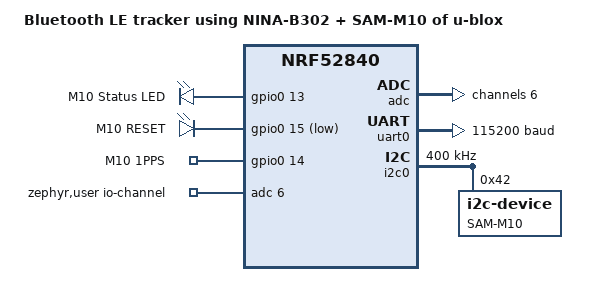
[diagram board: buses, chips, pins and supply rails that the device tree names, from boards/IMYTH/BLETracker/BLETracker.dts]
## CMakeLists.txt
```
# Copyright (C) 2026 Lancelot MEI
# SPDX-License-Identifier: GPL-2.0-only

cmake_minimum_required(VERSION 3.20.0)
find_package(Zephyr REQUIRED HINTS $ENV{ZEPHYR_BASE})
project(BLEtracker)

FILE(GLOB app_sources src/*.c)
target_sources(app PRIVATE ${app_sources})
```

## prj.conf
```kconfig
# Copyright (C) 2026 Lancelot MEI
# SPDX-License-Identifier: GPL-2.0-only

CONFIG_SYSTEM_WORKQUEUE_STACK_SIZE=2048

# Debugging & Console
CONFIG_CONSOLE=y
CONFIG_UART_CONSOLE=n
CONFIG_USE_SEGGER_RTT=y
CONFIG_RTT_CONSOLE=y

CONFIG_LOG=y
# Disable the direct RTT backend for logs
CONFIG_LOG_BACKEND_RTT=n

CONFIG_SHELL=y
CONFIG_SHELL_BACKEND_RTT=y
# Direct logs to the shell backend instead
CONFIG_SHELL_LOG_BACKEND=y

# Device Drivers
CONFIG_GPIO=y
CONFIG_I2C=y
CONFIG_ADC=y
CONFIG_SERIAL=y

# Power Management
#CONFIG_PM=y
#CONFIG_BOARD_ENABLE_DCDC=y

# Bluetooth LE
CONFIG_BT=y
CONFIG_BT_PERIPHERAL=y
CONFIG_BT_MAX_CONN=1
CONFIG_BT_DEVICE_NAME="BLE-Tracker"
CONFIG_BT_BAS=y
CONFIG_BT_GATT_CLIENT=y

## Data length update
CONFIG_BT_USER_DATA_LEN_UPDATE=y
CONFIG_BT_CTLR_DATA_LENGTH_MAX=251
CONFIG_BT_BUF_ACL_RX_SIZE=251
CONFIG_BT_BUF_ACL_TX_SIZE=251
CONFIG_BT_L2CAP_TX_MTU=247

# Connection parameters
CONFIG_BT_PERIPHERAL_PREF_MIN_INT=800
CONFIG_BT_PERIPHERAL_PREF_MAX_INT=800
CONFIG_BT_PERIPHERAL_PREF_LATENCY=0
CONFIG_BT_PERIPHERAL_PREF_TIMEOUT=400
CONFIG_BT_GAP_AUTO_UPDATE_CONN_PARAMS=y

CONFIG_MCUMGR_TRANSPORT_UART=n
#CONFIG_BT_DEBUG_MONITOR=n
# Optimization
CONFIG_FPU=y

CONFIG_I2C_LOG_LEVEL_DBG=y
CONFIG_NO_OPTIMIZATIONS=y
```

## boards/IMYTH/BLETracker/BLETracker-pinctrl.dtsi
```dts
/*
 * Copyright (C) 2026 Lancelot MEI
 * SPDX-License-Identifier: GPL-2.0-only
 *
 * Pin control configuration for BLETracker
 */

#include <zephyr/dt-bindings/pinctrl/nrf-pinctrl.h>

&pinctrl {
    /* UART0 ：RXD=P1.13, TXD=P0.29 */
    uart0_default: uart0_default {
        group1 {
            psels = <NRF_PSEL(UART_TX, 0, 29)>;
        };
        group2 {
            psels = <NRF_PSEL(UART_RX, 1, 13)>;
            bias-pull-up;
        };
    };

    uart0_sleep: uart0_sleep {
        group1 {
            psels = <NRF_PSEL(UART_TX, 0, 29)>,
                    <NRF_PSEL(UART_RX, 1, 13)>;
            low-power-enable;
        };
    };

    /* I2C0 ：SDA=P0.16, SCL=P0.24 */
    i2c0_default: i2c0_default {
        group1 {
            psels = <NRF_PSEL(TWIM_SDA, 0, 16)>,
                    <NRF_PSEL(TWIM_SCL, 0, 24)>;
            bias-pull-up; /* I2C pull up for M10 */
        };
    };

    i2c0_sleep: i2c0_sleep {
        group1 {
            psels = <NRF_PSEL(TWIM_SDA, 0, 16)>,
                    <NRF_PSEL(TWIM_SCL, 0, 24)>;
            low-power-enable;
        };
    };
};
```

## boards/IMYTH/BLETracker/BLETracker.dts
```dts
/*
 * Copyright (C) 2026 Lancelot MEI
 * SPDX-License-Identifier: GPL-2.0-only
 */

/dts-v1/;
#include <nordic/nrf52840_qiaa.dtsi>
#include <nordic/nrf52840_partition.dtsi>
#include "BLETracker-pinctrl.dtsi"

/ {
	model = "Bluetooth LE tracker using NINA-B302 + SAM-M10 of u-blox";
	compatible = "IMYTH,BLETracker";
	leds {
        compatible = "gpio-leds";
        m10_led: led_0 {
            gpios = <&gpio0 13 GPIO_ACTIVE_HIGH>;
            label = "M10 Status LED";
        };
        m10_reset: reset {
            gpios = <&gpio0 15 GPIO_ACTIVE_LOW>;
            label = "M10 RESET";
        };
    };

    m10_control {
        compatible = "gpio-keys";
        m10_pps: pps {
            gpios = <&gpio0 14 GPIO_ACTIVE_HIGH>;
            label = "M10 1PPS";
        };

    };
	zephyr,user {
		io-channels = <&adc 6>;
	};
};

&reg1 {
	regulator-initial-mode = <NRF5X_REG_MODE_DCDC>;
};


&gpiote {
	status = "okay";
};

&gpio0 {
	status = "okay";
};

/*  UART_RX on P1.13 */
&gpio1 {
    status = "okay";
};

/* ADC ：P0.30 @ AIN6 */
&adc {
    #address-cells = <1>;
    #size-cells = <0>;
	status = "okay";
    channel@6 {
        reg = <6>;
        zephyr,gain = "ADC_GAIN_1_6";
        zephyr,reference = "ADC_REF_INTERNAL";
        zephyr,acquisition-time = <ADC_ACQ_TIME_DEFAULT>;
        zephyr,input-positive = <NRF_SAADC_AIN6>; /* P0.30 */
		zephyr,resolution = <12>;
    };
};


&uart0 {
	compatible = "nordic,nrf-uarte";
	status = "okay";
	current-speed = <115200>;
	pinctrl-0 = <&uart0_default>;
	pinctrl-1 = <&uart0_sleep>;
	pinctrl-names = "default", "sleep";
};

&i2c0 {
	compatible = "nordic,nrf-twim";
	status = "okay";
	pinctrl-0 = <&i2c0_default>;
	pinctrl-1 = <&i2c0_sleep>;
	pinctrl-names = "default", "sleep";

	gnss: sam-m10@42 {
        compatible = "i2c-device";
        reg = <0x42>;
        label = "SAM-M10";
    };

	clock-frequency = <I2C_BITRATE_FAST>;
};
```

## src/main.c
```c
/*
 * Copyright (C) 2026 Lancelot MEI
 * SPDX-License-Identifier: GPL-2.0-only
 */

#include <zephyr/kernel.h>
#include <zephyr/logging/log.h>
#include <zephyr/sys/util.h>

#include "M10_hw.h"
#include "app_battery.h"
#include "app_m10.h"
#include "ble_core.h"


LOG_MODULE_REGISTER(main, LOG_LEVEL_INF);

enum {
	EVT_1PPS_TICK = BIT(0),
	EVT_BLE_CONFIG_UPDATED = BIT(1),
	EVT_PVT_TIMER = BIT(2),
};


static struct k_event main_events;

static void m10_pps_cb(void *user_data)
{
	struct k_event *ev = user_data;

	if (ev != NULL) {
		k_event_post(ev, EVT_1PPS_TICK);
	}
}

static void pvt_timer_hander(struct k_timer *timer)
{
	k_event_post(&main_events, EVT_PVT_TIMER);
}
static K_TIMER_DEFINE(pvt_timer, pvt_timer_hander, NULL);

int main(void)
{
    int err;
	uint32_t events;

    LOG_INF("BLE Tracker starting via RTT...\n");
    /* Hardware Init */

    err = ble_init();
    if (err) {
        LOG_ERR("BLE init failed, err %d\n", err);
        return err;
    }
    /* Init battery monitoring */
    err = app_battery_init();
    if (err){
        LOG_ERR("BATT Mon ERR %d\n", err);
    } else {
        app_battery_start();
    }

    err = app_m10_init();
    if (err != 0) {
        LOG_ERR("M10 init failed (err %d)", err);
		return err;
    }

	err = app_m10_start();
	if (err != 0) {
		LOG_ERR("M10 start failed (err %d)", err);
		return err;
	}

	k_event_init(&main_events);

	err = M10_hw_pps_enable(m10_pps_cb, &main_events);
	if (err != 0) {
		LOG_ERR("M10 1PPS enable failed (err %d)", err);
		return err;
	}
	k_timer_start(&pvt_timer, K_SECONDS(3), K_SECONDS(1));
	while (1) {
		events = k_event_wait(&main_events,
            EVT_1PPS_TICK | EVT_BLE_CONFIG_UPDATED|EVT_PVT_TIMER,
                    true, K_FOREVER);
		if ((events & EVT_1PPS_TICK) != 0U) {
			M10_led_set(1);
			k_timer_start(&pvt_timer, K_MSEC(200U), K_NO_WAIT);
		}
		if ((events & EVT_PVT_TIMER) != 0U) {
			if (ble_lns_notify_is_enabled()) {
				err = m10_pvt_update();
				if (err != 0) {
					LOG_DBG("PVT update skipped/failed (err %d)", err);
				}	
			}
			M10_led_toggle();
		}

		if ((events & EVT_BLE_CONFIG_UPDATED) != 0U) {
			LOG_DBG("BLE config update event received (TODO)");
		}
	}
}
```

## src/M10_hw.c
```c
/*
 * Copyright (C) 2026 Lancelot MEI
 * SPDX-License-Identifier: GPL-2.0-only
 */

#include "M10_hw.h"
#include "ubx.h"
#include <errno.h>
#include <stdbool.h>
#include <string.h>

#include <zephyr/devicetree.h>
#include <zephyr/drivers/gpio.h>
#include <zephyr/drivers/i2c.h>
#include <zephyr/kernel.h>
#include <zephyr/logging/log.h>
#include <zephyr/sys/util.h>

LOG_MODULE_REGISTER(M10_hw, LOG_LEVEL_INF);

#define M10_I2C_STREAM_REG 0xFF
#define M10_I2C_BYTES_AVAIL_REG 0xFD
#define M10_I2C_MAX_WRITE_LEN 191

static const struct i2c_dt_spec m10_i2c = I2C_DT_SPEC_GET(DT_NODELABEL(gnss));
static const struct gpio_dt_spec m10_reset = GPIO_DT_SPEC_GET(DT_NODELABEL(m10_reset), gpios);
static const struct gpio_dt_spec m10_pps = GPIO_DT_SPEC_GET(DT_NODELABEL(m10_pps), gpios);
static const struct gpio_dt_spec m10_led = GPIO_DT_SPEC_GET(DT_NODELABEL(m10_led), gpios);
static struct gpio_callback m10_pps_cb_data;
static m10_hw_pps_cb_t m10_pps_cb;
static void *m10_pps_cb_user_data;
static bool m10_pps_enabled;

static void m10_pps_isr(const struct device *port, struct gpio_callback *cb, uint32_t pins)
{
	ARG_UNUSED(port);
	ARG_UNUSED(cb);
	ARG_UNUSED(pins);

	if (m10_pps_cb != NULL) {
		m10_pps_cb(m10_pps_cb_user_data);
	}
}

int M10_hw_init(void)
{
	int err;

	if (!i2c_is_ready_dt(&m10_i2c)) {
		LOG_ERR("M10 I2C bus is not ready");
		return -ENODEV;
	}

	if (!gpio_is_ready_dt(&m10_reset)) {
		LOG_ERR("M10 reset GPIO is not ready");
		return -ENODEV;
	}
	if (!gpio_is_ready_dt(&m10_pps)) {
		LOG_ERR("M10 1PPS GPIO is not ready");
		return -ENODEV;
	}
	if (!gpio_is_ready_dt(&m10_led)) {
		LOG_ERR("M10 LED GPIO is not ready");
		return -ENODEV;
	}

	err = gpio_pin_configure_dt(&m10_reset, GPIO_OUTPUT_INACTIVE);
	if (err != 0) {
		LOG_ERR("Failed to configure M10 reset pin (err %d)", err);
		return err;
	}
	err = gpio_pin_configure_dt(&m10_pps, GPIO_INPUT);
	if (err != 0) {
		LOG_ERR("Failed to configure M10 1PPS pin (err %d)", err);
		return err;
	}
	err = gpio_pin_configure_dt(&m10_led, GPIO_OUTPUT_INACTIVE);
	if (err != 0) {
		LOG_ERR("Failed to configure M10 LED pin (err %d)", err);
		return err;
	}

	return 0;
}

int M10_hw_random_read(uint8_t *buf, uint16_t *len, uint16_t *remains)
{
	uint8_t data_avail_reg = M10_I2C_BYTES_AVAIL_REG;
	uint8_t data[2];
	int err;

	*remains = 0U;
	*len = 0U;
	if ((buf == NULL)) {
		return -EINVAL;
	}
	err = i2c_write_read_dt(&m10_i2c, &data_avail_reg, sizeof(data_avail_reg), data, sizeof(data));
	if (err != 0) {
		LOG_ERR("Failed to read M10 available byte count (err %d)", err);
		return err;
	}
	
	*len = ((uint16_t)data[0] << 8) | data[1];
	if (*len == 0U) {
		return 0U;
	}else if (*len > UBX_MAX_RX_MSG_LENGTH) {
		*remains = *len - UBX_MAX_RX_MSG_LENGTH;
		*len = UBX_MAX_RX_MSG_LENGTH;
	}
	return i2c_read_dt(&m10_i2c, buf, *len);
}

int M10_hw_write_stream(const uint8_t *buf, uint16_t len)
{
	uint8_t tx_buf[M10_I2C_MAX_WRITE_LEN + 1U];

	if ((buf == NULL) || (len == 0U)) {
		return -EINVAL;
	}

	if (len > M10_I2C_MAX_WRITE_LEN) {
		return -EMSGSIZE;
	}

	tx_buf[0] = M10_I2C_STREAM_REG;
	memcpy(&tx_buf[1], buf, len);
	return i2c_write_dt(&m10_i2c, tx_buf, len + 1U);
}

int M10_hw_reset_pulse(uint32_t hold_ms)
{
	int err;

	err = gpio_pin_set_dt(&m10_reset, 1);
	if (err != 0) {
		return err;
	}

	k_sleep(K_MSEC(hold_ms));
	return gpio_pin_set_dt(&m10_reset, 0);
}

int M10_hw_pps_enable(m10_hw_pps_cb_t cb, void *user_data)
{
	int err;

	if (cb == NULL) {
		return -EINVAL;
	}

	if (!gpio_is_ready_dt(&m10_pps)) {
		LOG_ERR("M10 1PPS GPIO is not ready");
		return -ENODEV;
	}

	m10_pps_cb = cb;
	m10_pps_cb_user_data = user_data;

	if (m10_pps_enabled) {
		return 0;
	}

	err = gpio_pin_configure_dt(&m10_pps, GPIO_INPUT);
	if (err != 0) {
		LOG_ERR("Failed to configure M10 1PPS pin (err %d)", err);
		return err;
	}

	gpio_init_callback(&m10_pps_cb_data, m10_pps_isr, BIT(m10_pps.pin));
	err = gpio_add_callback(m10_pps.port, &m10_pps_cb_data);
	if (err != 0) {
		LOG_ERR("Failed to add M10 1PPS callback (err %d)", err);
		return err;
	}

	err = gpio_pin_interrupt_configure_dt(&m10_pps, GPIO_INT_EDGE_TO_ACTIVE);
	if (err != 0) {
		(void)gpio_remove_callback(m10_pps.port, &m10_pps_cb_data);
		LOG_ERR("Failed to enable M10 1PPS interrupt (err %d)", err);
		return err;
	}

	m10_pps_enabled = true;
	return 0;
}

int M10_led_toggle(void)
{
	return gpio_pin_toggle_dt(&m10_led);
}

int M10_led_set(int8_t value)
{
	return gpio_pin_set_dt(&m10_led, value);
}
```

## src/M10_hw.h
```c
/*
 * Copyright (C) 2026 Lancelot MEI
 * SPDX-License-Identifier: GPL-2.0-only
 */

#ifndef APP_M10_HW_H
#define APP_M10_HW_H

#include <stddef.h>
#include <stdint.h>

typedef void (*m10_hw_pps_cb_t)(void *user_data);

/**
 * @brief Initialize M10 hardware binding (I2C + reset GPIO).
 */
int M10_hw_init(void);

/**
 * @brief Configure and enable 1PPS GPIO interrupt.
 *
 * Callback is invoked from interrupt context.
 */
int M10_hw_pps_enable(m10_hw_pps_cb_t cb, void *user_data);

/**
 * @brief Read M10 stream bytes via I2C DDC stream register.
 * 
 * @param buf Buffer to read into
 * @param len Number of bytes read
 * @param remains Number of bytes remaining in buffer
 * @return int 0 on success, negative on error
 */
int M10_hw_random_read(uint8_t *buf, uint16_t *len, uint16_t *remains);

/**
 * @brief Read M10 current address via I2C DDC stream register.
 * 
 * @param buf Buffer to read into
 * @param len Number of bytes to read
 * @return int 0 on success, negative on error
 */
int M10_hw_currentaddr_read(uint8_t *buf, uint16_t len);

/**
 * @brief Write M10 stream bytes via I2C DDC stream register.
 */
int M10_hw_write_stream(const uint8_t *buf, uint16_t len);

/**
 * @brief Read number of pending bytes in M10 DDC output buffer.
 */
int M10_hw_bytes_available(uint16_t *available);

/**
 * @brief Assert/deassert reset pin for a short pulse.
 */
int M10_hw_reset_pulse(uint32_t hold_ms);

int M10_led_toggle(void);
int M10_led_set(int8_t value);

#endif /* APP_M10_HW_H */
```

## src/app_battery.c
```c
/*
 * Copyright (C) 2026 Lancelot MEI
 * SPDX-License-Identifier: GPL-2.0-only
 */

#include "app_battery.h"
#include <zephyr/bluetooth/services/bas.h>
#include <zephyr/drivers/adc.h>
#include <zephyr/kernel.h>
#include <zephyr/logging/log.h>

#define APP_BATTERY_READ_INTERVAL_SEC 300
/* Battery voltage thresholds in microvolts (compensated for 1/2 divider)
 * 4.2V actual -> 2.1V at pin (2100000 uV)
 * 3.3V actual -> 1.65V at pin (1650000 uV)
 */
#define BATT_MAX_PIN_UV 2100000
#define BATT_MIN_PIN_UV 1650000

/* Register log module for debugging */
LOG_MODULE_REGISTER(app_bat, LOG_LEVEL_INF);

/* Get ADC spec from zephyr,user node */
static const struct adc_dt_spec batt_adc = ADC_DT_SPEC_GET_BY_IDX(DT_PATH(zephyr_user), 0);

/* Forward declarations */
static void battery_work_handler(struct k_work* work);
static void battery_timer_handler(struct k_timer* timer);

/* Define work item and timer statically */
static K_WORK_DEFINE(battery_work, battery_work_handler);
static K_TIMER_DEFINE(battery_timer, battery_timer_handler, NULL);

static void battery_work_handler(struct k_work* work)
{
    int err;
    uint16_t buf;
    int32_t val_uv;

    struct adc_sequence sequence = {
        .buffer = &buf,
        .buffer_size = sizeof(buf),
        .channels = BIT(batt_adc.channel_id), 
        .resolution = batt_adc.resolution,
        .oversampling = batt_adc.oversampling,
    };

    err = adc_read_dt(&batt_adc, &sequence);
    if (err < 0) {
        LOG_ERR("ADC read failed (err %d)", err);
        return;
    }

    val_uv = (int32_t)buf;
    err = adc_raw_to_microvolts_dt(&batt_adc, &val_uv);
    if (err < 0) {
        LOG_ERR("Microvolt conversion failed (err %d)", err);
        return;
    }

    uint8_t level = 0;

    if (val_uv >= BATT_MAX_PIN_UV) {
        level = 100;
    } else if (val_uv > BATT_MIN_PIN_UV) {
        level = (uint8_t)(((val_uv - BATT_MIN_PIN_UV) * 100) / (BATT_MAX_PIN_UV - BATT_MIN_PIN_UV));
    }

    LOG_INF("Pin voltage: %d uV, Level: %d%%", val_uv, level);

    err = bt_bas_set_battery_level(level);
    if (err) {
        LOG_ERR("Failed to update BAS (err %d)", err);
    }
}

static void battery_timer_handler(struct k_timer* timer)
{
    k_work_submit(&battery_work);
}

int app_battery_init(void)
{
    int err;
    if (!adc_is_ready_dt(&batt_adc)) {
        LOG_ERR("ADC controller not ready");
        return -ENODEV;
        ;
    }
    err = adc_channel_setup_dt(&batt_adc);
    if (err < 0) {
        LOG_ERR("Could not setup ADC channel (err %d)", err);
        return err;
    }
    LOG_INF("ADC channel configured successfully");
    return 0;
}

void app_battery_start(void)
{
    /* First trigger after 1 second, then periodically every 60 seconds */
    k_timer_start(&battery_timer, K_SECONDS(1), K_SECONDS(APP_BATTERY_READ_INTERVAL_SEC));
    LOG_INF("Battery monitoring started");
}

void app_battery_stop(void)
{
    k_timer_stop(&battery_timer);
    LOG_INF("Battery monitoring stopped");
}
```

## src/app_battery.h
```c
/*
 * Copyright (C) 2026 Lancelot MEI
 * SPDX-License-Identifier: GPL-2.0-only
 */

#ifndef APP_BATTERY_H
#define APP_BATTERY_H

/**
 * @brief Initialize the battery reading module (e.g., configure ADC hardware).
 */
int app_battery_init(void);

/**
 * @brief Start periodic battery level monitoring and Bluetooth reporting.
 */
void app_battery_start(void);

/**
 * @brief Stop battery monitoring.
 */
void app_battery_stop(void);

#endif /* APP_BATTERY_H */
```

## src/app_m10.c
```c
/*
 * Copyright (C) 2026 Lancelot MEI
 * SPDX-License-Identifier: GPL-2.0-only
 */

#include "app_m10.h"
#include <errno.h>
#include <limits.h>
#include <string.h>
#include "ubx_messages_header.h"
#include "ubx_messages_header_custom.h"

#include <zephyr/bluetooth/conn.h>
#include <zephyr/kernel.h>
#include <zephyr/logging/log.h>
#include <zephyr/sys/util.h>

#include "M10_hw.h"
#include "ble_core.h"
#include "ble_lns.h"
#include "ubx.h"

LOG_MODULE_REGISTER(app_m10, LOG_LEVEL_INF);

#define APP_M10_RX_BUFFER_SIZE 4
#define APP_M10_TX_BUFFER_SIZE 4
#define UBX_CFG_LAYER_RAM 0x01u

/* M10 configuration database keys for message output rate on I2C (U1). */
#define CFG_MSGOUT_UBX_NAV_PVT_I2C_U1 0X20910006UL
#define CFG_MSGOUT_NMEA_ID_DTM_I2C_U1 0X209100A6UL
#define CFG_MSGOUT_NMEA_ID_GGA_I2C_U1 0X209100BAUL
#define CFG_MSGOUT_NMEA_ID_GLL_I2C_U1 0X209100C9UL
#define CFG_MSGOUT_NMEA_ID_GNS_I2C_U1 0X209100B5UL
#define CFG_MSGOUT_NMEA_ID_GRS_I2C_U1 0X209100CEUL
#define CFG_MSGOUT_NMEA_ID_GSA_I2C_U1 0X209100BFUL
#define CFG_MSGOUT_NMEA_ID_GST_I2C_U1 0X209100D3UL
#define CFG_MSGOUT_NMEA_ID_GSV_I2C_U1 0X209100C4UL
#define CFG_MSGOUT_NMEA_ID_RMC_I2C_U1 0X209100ABUL
#define CFG_MSGOUT_NMEA_ID_VLW_I2C_U1 0X209100E7UL
#define CFG_MSGOUT_NMEA_ID_VTG_I2C_U1 0X209100B0UL
#define CFG_MSGOUT_NMEA_ID_ZDA_I2C_U1 0X209100D8UL

/* buffer for tx and rx*/
static uint8_t rx_buffer[UBX_MAX_RX_MSG_LENGTH];
static uint8_t tx_buffer[UBX_MAX_TX_MSG_LENGTH];
static bool started;

static int app_m10_configure_valset(void);

static inline int32_t mod(int32_t a, int32_t b) {
    int32_t r = a % b;
    return r < 0 ? r + b : r;
}

int m10_pvt_update(void)
{
    int err;
    uint16_t rx_len = 0;
    uint16_t rx_msg_len = 0;
    struct ble_lns_loc_speed fix;
    struct bt_conn* conn;
    UBX_NAV_PVT_DATA1_t* pvt;
    bool fix_ok;
    bool time_ok;
    int32_t gspeed_mm_s;
    uint16_t expected_len = UBX_HEAD_SIZE + sizeof(UBX_NAV_PVT_DATA1_t) + UBX_CHKSUM_SIZE;

    err = ubx_poll_message(UBXID_NAV_PVT, tx_buffer, rx_buffer, &rx_len, 80U);
    if (err != 0) {
        LOG_ERR("PVT query failed (err %d)", err);
        return err;
    }
    if (rx_len < expected_len) {
        LOG_ERR("PVT msg too short (%u bytes)", rx_len);
        return -EMSGSIZE;
    } else {
        err = ubx_verify_msg(rx_buffer, rx_len, &rx_msg_len);
        if (err != 0) {
            LOG_ERR("PVT decode failed (err %d)", err);
            return err;
        }
    }

    pvt = (UBX_NAV_PVT_DATA1_t*)&(rx_buffer[UBX_HEAD_SIZE]);

    fix_ok = (UBX_NAV_PVT_DATA1_FLAGS_GNSSFIXOK_GET(pvt->flags) != 0U);
    time_ok = (UBX_NAV_PVT_DATA1_VALID_VALIDDATE_GET(pvt->valid) != 0U) &&
                (UBX_NAV_PVT_DATA1_VALID_VALIDTIME_GET(pvt->valid) != 0U);

    memset(&fix, 0, sizeof(fix));
    fix.flags = 0U;

    if (fix_ok) {
        fix.flags = (BLE_LNS_LOC_SPEED_INST_SPEED_PRESENT | BLE_LNS_LOC_SPEED_LOCATION_PRESENT |
                        BLE_LNS_LOC_SPEED_HEADING_PRESENT |
                        BLE_LNS_LOC_SPEED_POS_STATUS_ENCODE(BLE_LNS_POS_POSITION_OK));

		/* covert from int32 to uint16, ignore negitive speed*/
		gspeed_mm_s = pvt->gSpeed;
		if (gspeed_mm_s < 0) {
			gspeed_mm_s = 0;
		}
		fix.inst_speed = (uint16_t)MIN((uint32_t)(gspeed_mm_s / 10), (uint32_t)UINT16_MAX);

		fix.latitude = pvt->lat;
		fix.longitude = pvt->lon;
		fix.heading = (uint16_t) (mod((int32_t)(pvt->headMot / 1000), 36000));

		if (time_ok) {
			fix.flags |= BLE_LNS_LOC_SPEED_UTC_TIME_PRESENT;
			fix.utc_time.year = pvt->year;
			fix.utc_time.month = pvt->month;
			fix.utc_time.day = pvt->day;
			fix.utc_time.hours = pvt->hour;
			fix.utc_time.minutes = pvt->min;
			fix.utc_time.seconds = pvt->sec;
		}

		conn = ble_get_default_conn();
		if (conn == NULL) {
			LOG_DBG("No BLE connection; skipping LNS notify");
			return -ENOTCONN;
		}

		err = ble_lns_notify_location_speed(conn, &fix);
		if (err != 0) {
			LOG_WRN("LNS notify failed (err %d)", err);
		}
		return 0;
	} else {
		LOG_INF("No fix");
		return -ENODATA;
	}
}

static int app_m10_version_query(void)
{
    int err = -1;
    uint16_t rx_len = 0;
    uint16_t rx_msg_len = 0;
    UBX_MON_VER_t* ver = NULL;

    err = ubx_poll_message(UBXID_MON_VER, tx_buffer, rx_buffer, &rx_len, 10U);
    if ((err != 0U) || (rx_len == 0U)) {
        LOG_ERR("VER query failed (err %d)", err);
        return err;
    }
    err = ubx_verify_msg(rx_buffer, rx_len, &rx_msg_len);
    if (err != 0) {
        LOG_ERR("VER decode failed (err %d)", err);
        return err;
    }
    if (rx_len < (UBX_HEAD_SIZE + UBX_MON_VER_SIZE + UBX_CHKSUM_SIZE)) {
        LOG_ERR("VER msg too short (%u bytes)", rx_len);
        LOG_ERR("Version: %.*s", rx_len - UBX_HEAD_SIZE - UBX_CHKSUM_SIZE,
                (char*)&rx_buffer[UBX_HEAD_SIZE]);
        return -EMSGSIZE;
    }
    ver = (UBX_MON_VER_t*)&(rx_buffer[UBX_HEAD_SIZE]);
    LOG_INF("Version \n SW: %.*s, HW: %.*s", sizeof(ver->sw), ver->sw, sizeof(ver->hw), ver->hw);
    return 0;
}

static int app_m10_configure_valset(void)
{
	static const struct ubx_cfg_pair_u1 msg_cfg[] = {
		{ CFG_MSGOUT_UBX_NAV_PVT_I2C_U1, 0U },
		{ CFG_MSGOUT_NMEA_ID_DTM_I2C_U1, 0U },
		{ CFG_MSGOUT_NMEA_ID_GGA_I2C_U1, 0U },
		{ CFG_MSGOUT_NMEA_ID_GLL_I2C_U1, 0U },
		{ CFG_MSGOUT_NMEA_ID_GNS_I2C_U1, 0U },
		{ CFG_MSGOUT_NMEA_ID_GRS_I2C_U1, 0U },
		{ CFG_MSGOUT_NMEA_ID_GST_I2C_U1, 0U },
		{ CFG_MSGOUT_NMEA_ID_GSA_I2C_U1, 0U },
		{ CFG_MSGOUT_NMEA_ID_GSV_I2C_U1, 0U },
		{ CFG_MSGOUT_NMEA_ID_RMC_I2C_U1, 0U },
		{ CFG_MSGOUT_NMEA_ID_VLW_I2C_U1, 0U },
		{ CFG_MSGOUT_NMEA_ID_VTG_I2C_U1, 0U },
		{ CFG_MSGOUT_NMEA_ID_ZDA_I2C_U1, 0U },
	};
	uint16_t rx_len = 0;
	int err;

	err = ubx_cfg_valset_u1(msg_cfg, ARRAY_SIZE(msg_cfg), UBX_CFG_LAYER_RAM,
				tx_buffer, rx_buffer, &rx_len);
	if (err != 0) {
		LOG_ERR("CFG-VALSET disable default I2C outputs failed (err %d)", err);
		return err;
	}

	LOG_INF("Disabled default I2C UBX/NMEA outputs; polling only");
	return 0;
}

int app_m10_init(void)
{
    int err;

    err = M10_hw_init();
    if (err != 0) {
        return err;
    }

    LOG_INF("M10 app initialized (I2C + UBX only)");
    return 0;
}

int app_m10_start(void)
{
    int err;

    if (started) {
        return 0;
    }

    err = M10_hw_reset_pulse(5U);
    if (err != 0) {
        LOG_WRN("M10 reset pulse failed (err %d)", err);
    }
    k_sleep(K_MSEC(1000U));

    err = app_m10_version_query();
    if (err != 0) {
        LOG_ERR("M10 version query failed (err %d)", err);
        return err;
    }
    k_sleep(K_MSEC(100U));

    err = app_m10_configure_valset();
    if (err != 0) {
        LOG_WRN("M10 UBX config failed (err %d)", err);
    }

    started = true;
    LOG_INF("M10 started");
    return 0;
}
```

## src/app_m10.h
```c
/*
 * Copyright (C) 2026 Lancelot MEI
 * SPDX-License-Identifier: GPL-2.0-only
 */

#ifndef APP_M10_H
#define APP_M10_H

#include <stdbool.h>
#include <stdint.h>

struct app_m10_fix {
	int32_t latitude_1e7;
	int32_t longitude_1e7;
	int32_t heading_1e5_deg;
	int32_t ground_speed_mm_s;
	uint32_t horiz_acc_mm;
	uint32_t i_tow_ms;
	uint16_t year;
	uint8_t month;
	uint8_t day;
	uint8_t hour;
	uint8_t min;
	uint8_t sec;
	uint8_t fix_type;
	uint8_t fix_flags;
	uint8_t num_sv;
};

/**
 * @brief Initialize M10 GNSS.
 *
 * This project supports UBX over I2C only.
 */
int app_m10_init(void);


/**
 * @brief Start GNSS engine of M10.
 */
int app_m10_start(void);

/**
 * @brief Poll one NAV-PVT sample and send it over LNS notification.
 */
int m10_pvt_update(void);

/**
 * @brief Stop GNSS engine of M10.
 */
void app_m10_stop(void);

/**
 * @brief Check if a GNSS fix is usable.
 */
bool app_m10_fix_valid(const struct app_m10_fix *fix);

/**
 * @brief Read the latest decoded fix.
 *
 * @retval 0 on success.
 * @retval -ENODATA if no fix has been decoded yet.
 */
int app_m10_get_last_fix(struct app_m10_fix *fix);

#endif /* APP_M10_H */
```

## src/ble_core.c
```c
/*
 * Copyright (C) 2026 Lancelot MEI
 * SPDX-License-Identifier: GPL-2.0-only
 */

#include <zephyr/bluetooth/bluetooth.h>
#include <zephyr/bluetooth/conn.h>
#include <zephyr/bluetooth/gap.h>
#include <zephyr/bluetooth/hci.h>
#include <zephyr/bluetooth/uuid.h>
#include <zephyr/kernel.h>
#include <zephyr/logging/log.h>
#include <zephyr/sys/atomic.h>

#include "ble_core.h"
#include "ble_lns.h"
#include <zephyr/bluetooth/gatt.h>

LOG_MODULE_REGISTER(ble_core, LOG_LEVEL_INF);

#define BLE_LNS_DEFAULT_FEATURES \
    (BLE_LNS_FEAT_INST_SPEED | BLE_LNS_FEAT_LOCATION | BLE_LNS_FEAT_HEADING | BLE_LNS_FEAT_UTC_TIME)

static const struct bt_data ad[] = {
    BT_DATA_BYTES(BT_DATA_FLAGS, (BT_LE_AD_GENERAL | BT_LE_AD_NO_BREDR)),
    BT_DATA_BYTES(BT_DATA_UUID16_ALL,
                    BT_UUID_16_ENCODE(BT_UUID_BAS_VAL),
                    BT_UUID_16_ENCODE(BT_UUID_LNS_VAL)),
};
static const struct bt_data sd[] = {
    BT_DATA(BT_DATA_NAME_COMPLETE, CONFIG_BT_DEVICE_NAME, sizeof(CONFIG_BT_DEVICE_NAME) - 1),
    BT_DATA_BYTES(BT_DATA_GAP_APPEARANCE, 0x41, 0x14),
};
enum {
    STATE_CONNECTED,
    STATE_DISCONNECTED,
    STATE_RECYCLED,

    STATE_BITS,
};

static ATOMIC_DEFINE(state, STATE_BITS);
static atomic_t lns_notify_enabled;
static struct bt_conn *default_conn;
static struct bt_gatt_exchange_params exchange_params;

static void update_data_length(struct bt_conn *conn)
{
    int err;
    struct bt_conn_le_data_len_param my_data_len = {
        .tx_max_len = BT_GAP_DATA_LEN_MAX,
        .tx_max_time = BT_GAP_DATA_TIME_MAX,
    };
    err = bt_conn_le_data_len_update(conn, &my_data_len);
    if (err) {
        LOG_ERR("data_len_update failed (err %d)", err);
    }
}

static void exchange_func(struct bt_conn *conn, uint8_t att_err,
			  struct bt_gatt_exchange_params *params)
{
	LOG_INF("MTU exchange %s", att_err == 0 ? "successful" : "failed");
    if (!att_err) {
        uint16_t payload_mtu = bt_gatt_get_mtu(conn) - 3;   // 3 bytes used for Attribute headers.
        LOG_INF("New MTU: %d bytes", payload_mtu);
    }
}

static void update_mtu(struct bt_conn *conn)
{
    int err;
    exchange_params.func = exchange_func;

    err = bt_gatt_exchange_mtu(conn, &exchange_params);
    if (err) {
        LOG_ERR("bt_gatt_exchange_mtu failed (err %d)", err);
    }
}

static void on_connected(struct bt_conn* conn, uint8_t err)
{
    struct bt_conn_info info;
    double connection_interval;
    uint16_t supervision_timeout;

    if (err != 0U) {
        LOG_INF("Connection failed, err 0x%02x %s", err, bt_hci_err_to_str(err));
        return;
    }

    LOG_INF("Connected");
    (void)atomic_set_bit(state, STATE_CONNECTED);
    if (default_conn == NULL) {
        default_conn = bt_conn_ref(conn);
    }

    err = bt_conn_get_info(conn, &info);
    if (err != 0U) {
        LOG_ERR("bt_conn_get_info() returned %d", err);
        return;
    }

    LOG_DBG("Connection type: %s", (info.type == BT_CONN_TYPE_LE) ? "LE" : "BR/EDR");

    connection_interval = BT_GAP_US_TO_CONN_INTERVAL(info.le.interval_us) * 1.25;
    supervision_timeout = info.le.timeout * 10;

    LOG_DBG("Connection parameters: interval %.2f ms, latency %d intervals, timeout %d ms",
            connection_interval, info.le.latency, supervision_timeout);
    k_sleep(K_MSEC(1000));  // Delay added to avoid link layer collisions.
    update_data_length(conn);
    update_mtu(conn);
}

static void on_disconnected(struct bt_conn* conn, uint8_t reason)
{
    LOG_INF("Disconnected, reason 0x%02x %s", reason, bt_hci_err_to_str(reason));
    (void)atomic_set_bit(state, STATE_DISCONNECTED);
    if (conn == default_conn) {
        bt_conn_unref(default_conn);
        default_conn = NULL;
    }
}

static void on_recycled(void)
{
    int err;
    LOG_INF("Connection recycled");
    err = ble_adv_start();
    if (err != 0) {
        LOG_WRN("Failed to restart advertising (err %d)", err);
    }

    (void)atomic_set_bit(state, STATE_RECYCLED);
}

static void on_le_param_updated(struct bt_conn* conn,
                                uint16_t interval,
                                uint16_t latency,
                                uint16_t timeout)
{
    double connection_interval;
    uint16_t supervision_timeout;

    ARG_UNUSED(conn);

    connection_interval = interval * 1.25;
    supervision_timeout = timeout * 10;

    LOG_INF("Connection parameters updated: interval %.2f ms, latency %d intervals, timeout %d ms",
            connection_interval, latency, supervision_timeout);
}


void on_le_data_len_updated(struct bt_conn *conn, struct bt_conn_le_data_len_info *info)
{
    uint16_t tx_len     = info->tx_max_len; 
    uint16_t tx_time    = info->tx_max_time;
    uint16_t rx_len     = info->rx_max_len;
    uint16_t rx_time    = info->rx_max_time;
    LOG_INF("Data length updated. Length %d/%d bytes, time %d/%d us", tx_len, rx_len, tx_time, rx_time);
}



BT_CONN_CB_DEFINE(conn_callbacks) = {
    .connected              = on_connected,
    .disconnected           = on_disconnected,
    .recycled               = on_recycled,
    .le_param_updated       = on_le_param_updated,
    .le_data_len_updated    = on_le_data_len_updated,
};


static void lns_on_notify_changed(bool enabled)
{
    atomic_set(&lns_notify_enabled, enabled ? 1 : 0);
    LOG_INF("LNS Service: notifications are %s", enabled ? "ENABLED" : "DISABLED");
}

static const struct ble_lns_cb lns_callbacks = {
    .notify_changed = lns_on_notify_changed,
};

int ble_adv_start(void)
{
    return bt_le_adv_start(BT_LE_ADV_CONN_FAST_1, ad, ARRAY_SIZE(ad), sd, ARRAY_SIZE(sd));
}

int ble_adv_stop(void)
{
    return bt_le_adv_stop();
}

int ble_init(void)
{
    int err;

    atomic_clear(&lns_notify_enabled);

    err = bt_enable(NULL);
    if (err) {
        LOG_ERR("Bluetooth init failed (err %d)", err);
        return err;
    }

    err = ble_lns_init(BLE_LNS_DEFAULT_FEATURES, &lns_callbacks);
    if (err != 0) {
        LOG_ERR("Failed to initialize LNS service (err %d)", err);
        return err;
    }

    err = ble_adv_start();
    if (err) {
        LOG_ERR("Failed to start advertising (err %d)", err);
        return err;
    }

    LOG_INF("Bluetooth initialized and advertising");
    return 0;
}

struct bt_conn *ble_get_default_conn(void)
{
    return default_conn;
}

bool ble_lns_notify_is_enabled(void)
{
    return (atomic_get(&lns_notify_enabled) != 0);
}
```

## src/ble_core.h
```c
/*
 * Copyright (C) 2026 Lancelot MEI
 * SPDX-License-Identifier: GPL-2.0-only
 */

#ifndef BLE_CORE_H
#define BLE_CORE_H

#include <stdbool.h>
#include <zephyr/bluetooth/conn.h>

/**
 * @brief Initialize BLE service.
 */
int ble_init(void);

/**
 * @brief Start BLE advertising.
 */
int ble_adv_start(void);

/**
 * @brief Stop BLE advertising.
 */
int ble_adv_stop(void);

/**
 * @brief Get the current default LE connection.
 *
 * @return Connection reference or NULL if not connected.
 */
struct bt_conn *ble_get_default_conn(void);

/**
 * @brief Check whether LNS Location and Speed notification is enabled.
 */
bool ble_lns_notify_is_enabled(void);

#endif /* BLE_CORE_H */
```

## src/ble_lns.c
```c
/*
 * Copyright (C) 2026 Lancelot MEI
 * SPDX-License-Identifier: GPL-2.0-only
 */

#include <errno.h>
#include <zephyr/kernel.h>
#include <zephyr/logging/log.h>
#include <zephyr/net_buf.h>
#include <zephyr/sys/__assert.h>
#include <zephyr/sys/byteorder.h>

#include <zephyr/bluetooth/conn.h>
#include <zephyr/bluetooth/gatt.h>
#include <zephyr/bluetooth/uuid.h>

#include "ble_lns.h"

LOG_MODULE_REGISTER(ble_lns, LOG_LEVEL_INF);

#define BLE_LNS_LOC_SPEED_MAX_LEN 21U
#define BLE_LNS_DEFINED_FEATURE_MASK GENMASK(20, 0)
#define BLE_LNS_IMPLEMENTED_FEATURE_MASK \
    (BLE_LNS_FEAT_INST_SPEED | BLE_LNS_FEAT_LOCATION | BLE_LNS_FEAT_HEADING | BLE_LNS_FEAT_UTC_TIME)
#define BLE_LNS_LOC_SPEED_DEFINED_FLAGS_MASK                                           \
    (BLE_LNS_LOC_SPEED_INST_SPEED_PRESENT | BLE_LNS_LOC_SPEED_TOTAL_DISTANCE_PRESENT | \
        BLE_LNS_LOC_SPEED_LOCATION_PRESENT | BLE_LNS_LOC_SPEED_ELEVATION_PRESENT |        \
        BLE_LNS_LOC_SPEED_HEADING_PRESENT | BLE_LNS_LOC_SPEED_ROLLING_TIME_PRESENT |      \
        BLE_LNS_LOC_SPEED_UTC_TIME_PRESENT | BLE_LNS_LOC_SPEED_SPEED_DISTANCE_3D |        \
        BLE_LNS_LOC_SPEED_POS_STATUS_MASK | BLE_LNS_LOC_SPEED_ELEVATION_SOURCE_MASK |     \
        BLE_LNS_LOC_SPEED_HEADING_SOURCE)

static uint32_t lns_feature;
static struct ble_lns_cb lns_cb;
static const struct bt_gatt_attr* loc_speed_attr;

static ssize_t read_ln_feature(struct bt_conn* conn,
                                const struct bt_gatt_attr* attr,
                                void* buf,
                                uint16_t len,
                                uint16_t offset)
{
    uint32_t value = sys_cpu_to_le32(lns_feature);

    return bt_gatt_attr_read(conn, attr, buf, len, offset, &value, sizeof(value));
}

static void loc_speed_ccc_cfg_changed(const struct bt_gatt_attr* attr, uint16_t value)
{
    bool enabled = (value == BT_GATT_CCC_NOTIFY);

    LOG_INF("LNS Location and Speed notifications %s", enabled ? "enabled" : "disabled");

    if (lns_cb.notify_changed != NULL) {
        lns_cb.notify_changed(enabled);
    }
}

BT_GATT_SERVICE_DEFINE(lns_svc,
                        BT_GATT_PRIMARY_SERVICE(BT_UUID_LNS),
                        BT_GATT_CHARACTERISTIC(BT_UUID_GATT_LNF,
                                            BT_GATT_CHRC_READ,
                                            BT_GATT_PERM_READ,
                                            read_ln_feature,
                                            NULL,
                                            NULL),
                        BT_GATT_CHARACTERISTIC(BT_UUID_GATT_LOC_SPD,
                                            BT_GATT_CHRC_NOTIFY,
                                            BT_GATT_PERM_NONE,
                                            NULL,
                                            NULL,
                                            NULL),
                        BT_GATT_CCC(loc_speed_ccc_cfg_changed,
                                    BT_GATT_PERM_READ | BT_GATT_PERM_WRITE), );

static int validate_feature_bits(uint32_t feature_bits)
{
    if ((feature_bits & ~BLE_LNS_DEFINED_FEATURE_MASK) != 0U) {
        return -EINVAL;
    }

    return 0;
}

static void encode_utc_time(struct net_buf_simple* buf, const struct ble_lns_utc_time* utc)
{
    net_buf_simple_add_le16(buf, utc->year);
    net_buf_simple_add_u8(buf, utc->month);
    net_buf_simple_add_u8(buf, utc->day);
    net_buf_simple_add_u8(buf, utc->hours);
    net_buf_simple_add_u8(buf, utc->minutes);
    net_buf_simple_add_u8(buf, utc->seconds);
}

static void encode_u24(struct net_buf_simple* buf, uint32_t value)
{
    net_buf_simple_add_u8(buf, value & 0xFFU);
    net_buf_simple_add_u8(buf, (value >> 8) & 0xFFU);
    net_buf_simple_add_u8(buf, (value >> 16) & 0xFFU);
}

static void encode_s24(struct net_buf_simple* buf, int32_t value)
{
    encode_u24(buf, (uint32_t)value);
}

static void encode_loc_speed(struct net_buf_simple* buf, const struct ble_lns_loc_speed* sample)
{
    uint16_t in_flags = sample->flags & BLE_LNS_LOC_SPEED_DEFINED_FLAGS_MASK;
    uint16_t flags = 0U;
    bool inst_speed_encoded = false;
    bool total_distance_encoded = false;
    uint8_t* flags_ptr;

    net_buf_simple_reset(buf);
    flags_ptr = net_buf_simple_add(buf, sizeof(uint16_t));
    flags_ptr[0] = 0U;
    flags_ptr[1] = 0U;

    if (((lns_feature & BLE_LNS_FEAT_INST_SPEED) != 0U) &&
        ((in_flags & BLE_LNS_LOC_SPEED_INST_SPEED_PRESENT) != 0U)) {
        net_buf_simple_add_le16(buf, sample->inst_speed);
        flags |= BLE_LNS_LOC_SPEED_INST_SPEED_PRESENT;
        inst_speed_encoded = true;
    }

    if (((lns_feature & BLE_LNS_FEAT_TOTAL_DISTANCE) != 0U) &&
        ((in_flags & BLE_LNS_LOC_SPEED_TOTAL_DISTANCE_PRESENT) != 0U)) {
        encode_u24(buf, sample->total_distance);
        flags |= BLE_LNS_LOC_SPEED_TOTAL_DISTANCE_PRESENT;
        total_distance_encoded = true;
    }

    if (((lns_feature & BLE_LNS_FEAT_LOCATION) != 0U) &&
        ((in_flags & BLE_LNS_LOC_SPEED_LOCATION_PRESENT) != 0U)) {
        net_buf_simple_add_le32(buf, sample->latitude);
        net_buf_simple_add_le32(buf, sample->longitude);
        flags |= BLE_LNS_LOC_SPEED_LOCATION_PRESENT;
        flags |= in_flags & BLE_LNS_LOC_SPEED_POS_STATUS_MASK;

    }

    if (((lns_feature & BLE_LNS_FEAT_ELEVATION) != 0U) &&
        ((in_flags & BLE_LNS_LOC_SPEED_ELEVATION_PRESENT) != 0U)) {
        encode_s24(buf, sample->elevation);
        flags |= BLE_LNS_LOC_SPEED_ELEVATION_PRESENT;
        flags |= in_flags & BLE_LNS_LOC_SPEED_ELEVATION_SOURCE_MASK;

    }

    if (((lns_feature & BLE_LNS_FEAT_HEADING) != 0U) &&
        ((in_flags & BLE_LNS_LOC_SPEED_HEADING_PRESENT) != 0U)) {
        net_buf_simple_add_le16(buf, sample->heading);
        flags |= BLE_LNS_LOC_SPEED_HEADING_PRESENT;
        flags |= in_flags & BLE_LNS_LOC_SPEED_HEADING_SOURCE;
    }

    if (((lns_feature & BLE_LNS_FEAT_ROLLING_TIME) != 0U) &&
        ((in_flags & BLE_LNS_LOC_SPEED_ROLLING_TIME_PRESENT) != 0U)) {
        net_buf_simple_add_u8(buf, sample->rolling_time);
        flags |= BLE_LNS_LOC_SPEED_ROLLING_TIME_PRESENT;
    }

    if (((lns_feature & BLE_LNS_FEAT_UTC_TIME) != 0U) &&
        ((in_flags & BLE_LNS_LOC_SPEED_UTC_TIME_PRESENT) != 0U)) {
        encode_utc_time(buf, &sample->utc_time);
        flags |= BLE_LNS_LOC_SPEED_UTC_TIME_PRESENT;
    }

    if ((((lns_feature & BLE_LNS_FEAT_TOTAL_DISTANCE) != 0U) && ((in_flags & BLE_LNS_LOC_SPEED_TOTAL_DISTANCE_PRESENT) != 0U)) ||
        (((lns_feature & BLE_LNS_FEAT_INST_SPEED) != 0U) && ((in_flags & BLE_LNS_LOC_SPEED_INST_SPEED_PRESENT) != 0U))) {
        flags |= (in_flags & BLE_LNS_LOC_SPEED_SPEED_DISTANCE_3D);
    }

    sys_put_le16(flags, flags_ptr);
}

int ble_lns_init(uint32_t feature_bits, const struct ble_lns_cb* cb)
{
    int err = validate_feature_bits(feature_bits);
    uint32_t effective_features;
    if (err != 0) {
        return err;
    }
    effective_features =
        feature_bits & BLE_LNS_DEFINED_FEATURE_MASK & BLE_LNS_IMPLEMENTED_FEATURE_MASK;
    if (effective_features != feature_bits) {
        LOG_WRN("Unsupported LNS feature bits were ignored (requested: 0x%08x, effective: 0x%08x)",
                feature_bits, effective_features);
    }

    lns_feature = effective_features;
    
    __ASSERT(cb != NULL, "LNS callback cannot be NULL");
    lns_cb = *cb;
    
    loc_speed_attr = bt_gatt_find_by_uuid(lns_svc.attrs, lns_svc.attr_count, BT_UUID_GATT_LOC_SPD);
    __ASSERT_NO_MSG(loc_speed_attr != NULL);

    LOG_INF("LNS initialized (feature bits: 0x%08x)", lns_feature);
    return 0;
}

uint32_t ble_lns_get_feature(void)
{
    return lns_feature;
}

int ble_lns_notify_location_speed(struct bt_conn* conn, const struct ble_lns_loc_speed* sample)
{
    int err;
    uint16_t mtu;
    NET_BUF_SIMPLE_DEFINE(encoded, BLE_LNS_LOC_SPEED_MAX_LEN);
    const struct bt_gatt_attr* attr = loc_speed_attr;

    encode_loc_speed(&encoded, sample);
    mtu = bt_gatt_get_mtu(conn);

    if (encoded.len > (mtu - 3U)) {
        return -EMSGSIZE;
    }

    err = bt_gatt_notify(conn, attr, encoded.data, encoded.len);
    return err;
}
```

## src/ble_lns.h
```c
/*
 * Copyright (C) 2026 Lancelot MEI
 * SPDX-License-Identifier: GPL-2.0-only
 */

#ifndef BLE_LNS_H_
#define BLE_LNS_H_

#include <stdbool.h>
#include <stdint.h>

#include <zephyr/bluetooth/conn.h>
#include <zephyr/sys/util.h>

#ifdef __cplusplus
extern "C" {
#endif

/* Location and Navigation Feature characteristic (0x2A6A) supported bits. */
#define BLE_LNS_FEAT_INST_SPEED	BIT(0)
#define BLE_LNS_FEAT_TOTAL_DISTANCE	BIT(1)
#define BLE_LNS_FEAT_LOCATION	BIT(2)
#define BLE_LNS_FEAT_ELEVATION	BIT(3)
#define BLE_LNS_FEAT_HEADING	BIT(4)
#define BLE_LNS_FEAT_ROLLING_TIME	BIT(5)
#define BLE_LNS_FEAT_UTC_TIME	BIT(6)
#define BLE_LNS_FEAT_REMAINING_DISTANCE	BIT(7)
#define BLE_LNS_FEAT_REMAINING_VERT_DISTANCE	BIT(8)
#define BLE_LNS_FEAT_EST_TIME_OF_ARRIVAL	BIT(9)
#define BLE_LNS_FEAT_NUM_BEACONS_SOLUTION	BIT(10)
#define BLE_LNS_FEAT_NUM_BEACONS_VIEW	BIT(11)
#define BLE_LNS_FEAT_TIME_TO_FIRST_FIX	BIT(12)
#define BLE_LNS_FEAT_EST_HOR_POS_ERR	BIT(13)
#define BLE_LNS_FEAT_EST_VERT_POS_ERR	BIT(14)
#define BLE_LNS_FEAT_HOR_DILUTION_PRECISION	BIT(15)
#define BLE_LNS_FEAT_VERT_DILUTION_PRECISION	BIT(16)
#define BLE_LNS_FEAT_LOC_SPEED_CONTENT_MASKING	BIT(17)
#define BLE_LNS_FEAT_FIX_RATE_SETTING	BIT(18)
#define BLE_LNS_FEAT_ELEVATION_SETTING	BIT(19)
#define BLE_LNS_FEAT_POSITION_STATUS	BIT(20)

/** @brief Position Status values encoded in Location and Speed Flags bits 7..8. */
enum ble_lns_position_status {
	BLE_LNS_POS_NO_POSITION = 0,
	BLE_LNS_POS_POSITION_OK = 1,
	BLE_LNS_POS_ESTIMATED = 2,
	BLE_LNS_POS_LAST_KNOWN = 3,
};



/** @brief Location and Speed Flags field bit definitions. */
enum ble_lns_loc_speed_flags {
	BLE_LNS_LOC_SPEED_INST_SPEED_PRESENT = BIT(0),
	BLE_LNS_LOC_SPEED_TOTAL_DISTANCE_PRESENT = BIT(1),
	BLE_LNS_LOC_SPEED_LOCATION_PRESENT = BIT(2),
	BLE_LNS_LOC_SPEED_ELEVATION_PRESENT = BIT(3),
	BLE_LNS_LOC_SPEED_HEADING_PRESENT = BIT(4),
	BLE_LNS_LOC_SPEED_ROLLING_TIME_PRESENT = BIT(5),
	BLE_LNS_LOC_SPEED_UTC_TIME_PRESENT = BIT(6),
	BLE_LNS_LOC_SPEED_SPEED_DISTANCE_3D = BIT(9),
	BLE_LNS_LOC_SPEED_HEADING_SOURCE = BIT(12),
};

#define BLE_LNS_LOC_SPEED_POS_STATUS_SHIFT	7U
#define BLE_LNS_LOC_SPEED_POS_STATUS_MASK	GENMASK(8, 7)
#define BLE_LNS_LOC_SPEED_ELEVATION_SOURCE_SHIFT	10U
#define BLE_LNS_LOC_SPEED_ELEVATION_SOURCE_MASK	GENMASK(11, 10)
#define BLE_LNS_LOC_SPEED_POS_STATUS_ENCODE(v) \
	((((uint16_t)(v)) << BLE_LNS_LOC_SPEED_POS_STATUS_SHIFT) & BLE_LNS_LOC_SPEED_POS_STATUS_MASK)
#define BLE_LNS_LOC_SPEED_ELEVATION_SOURCE_ENCODE(v) \
	((((uint16_t)(v)) << BLE_LNS_LOC_SPEED_ELEVATION_SOURCE_SHIFT) & \
    BLE_LNS_LOC_SPEED_ELEVATION_SOURCE_MASK)

/** @brief Elevation source values encoded in Location and Speed Flags bits 10..11. */
enum ble_lns_elevation_source {
	BLE_LNS_ELEVATION_POSITIONING_SYSTEM = 0,
	BLE_LNS_ELEVATION_BAROMETRIC_AIR_PRESSURE = 1,
	BLE_LNS_ELEVATION_DATABASE_SERVICE = 2,
	BLE_LNS_ELEVATION_OTHER_SOURCE = 3,
};

/** @brief UTC time structure used by Location and Speed characteristic. */
struct ble_lns_utc_time {
	uint16_t year;
	uint8_t month;
	uint8_t day;
	uint8_t hours;
	uint8_t minutes;
	uint8_t seconds;
};

/** @brief Heading source values for Location and Speed flag bit 12. */
enum ble_lns_heading_source {
	BLE_LNS_HEADING_MOVEMENT = 0,
	BLE_LNS_HEADING_MAGNETIC_COMPASS = 1,
};

/** @brief Location and Speed sample payload.
 *
 * Application provides @p flags and all field values. The stack encodes fields
 * in Bluetooth SIG-defined order according to @p flags.
 */
struct ble_lns_loc_speed {
	/** Bit field of @ref ble_lns_loc_speed_flags and encoded multi-bit fields. */
	uint16_t flags;

	/** Instantaneous speed field (when bit 0 is set). */
	uint16_t inst_speed;
	/** Total distance field, lower 24 bits are encoded (when bit 1 is set). */
	uint32_t total_distance;
	/** Latitude field (when bit 2 is set). */
	int32_t latitude;
	/** Longitude field (when bit 2 is set). */
	int32_t longitude;
	/** Elevation field, lower 24 bits are encoded (when bit 3 is set). */
	int32_t elevation;
	/** Heading field (when bit 4 is set). */
	uint16_t heading;
	/** Rolling time field (when bit 5 is set). */
	uint8_t rolling_time;
	/** UTC time field (when bit 6 is set). */
	struct ble_lns_utc_time utc_time;
};

/** @brief LNS event callbacks. */
struct ble_lns_cb {
	void (*notify_changed)(bool enabled);
};

/**
 * @brief Initialize local LNS service state.
 *
 * @param feature_bits Enabled feature bits for LN Feature characteristic.
 * @param cb           Callback structure or NULL.
 *
 * @retval 0 on success.
 * @retval -EINVAL if @p feature_bits contains unsupported bits.
 */
int ble_lns_init(uint32_t feature_bits, const struct ble_lns_cb *cb);


/**
 * @brief Try to notify a Location and Speed sample on a specific connection.
 *
 * This call attempts immediate notification.
 *
 * @param conn Connected LE connection.
 * @param sample Sample data to encode.
 *
 * @retval 0 on success.
 * @retval -EMSGSIZE if encoded payload does not fit current ATT MTU.
 */
int ble_lns_notify_location_speed(struct bt_conn *conn, const struct ble_lns_loc_speed *sample);


#ifdef __cplusplus
}
#endif

#endif /* BLE_LNS_H_ */
```

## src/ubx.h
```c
/*
 * Copyright (C) 2026 Lancelot MEI
 * SPDX-License-Identifier: GPL-2.0-only
 */

#ifndef UBX_H
#define UBX_H
#include <stddef.h>
#include <stdint.h>
#include <errno.h>

#define GNSS_STATUS_MORE_DATA    1
#define GNSS_STATUS_OK           0

#define GNSS_ERR_BUFF_EMPTY     -ENODATA 
#define GNSS_ERR_I2C            -EIO     
#define GNSS_ERR_BUFF_FULL      -ENOBUFS 
#define GNSS_ERR_DECODE         -EBADMSG 
#define GNSS_ERR_UNKNOWN_MSG    -ENOTSUP 
#define UBX_MAX_RX_MSG_LENGTH     1024
#define UBX_MAX_TX_MSG_LENGTH     256

struct ubx_cfg_pair_u1 {
	uint32_t key_id;
	uint8_t value;
};

int ubx_build_msg(uint16_t class_msg_id, uint8_t *ubx_msg, uint16_t payload_length);

int ubx_build_cfg_valset_payload(const struct ubx_cfg_pair_u1 *cfg, size_t cfg_count,
				 uint8_t layers, uint8_t *payload, uint16_t *payload_length);

int ubx_verify_msg(uint8_t *ubx_msg, uint16_t buff_length, uint16_t *msg_length);

int ubx_poll_message(uint16_t class_msg_id, uint8_t *ubx_tx_msg, uint8_t *ubx_rx_msg, uint16_t *rx_msg_length, uint16_t read_delay_ms);

int ubx_send_message(uint16_t class_msg_id, const uint8_t *tx_msg, uint16_t tx_msg_length,
		     uint8_t *ubx_rx_msg, uint16_t *rx_msg_length);

int ubx_cfg_valset_u1(const struct ubx_cfg_pair_u1 *cfg, size_t cfg_count, uint8_t layers,
		      uint8_t *ubx_tx_msg, uint8_t *ubx_rx_msg, uint16_t *rx_msg_length);


#endif /* UBX_H */
```
